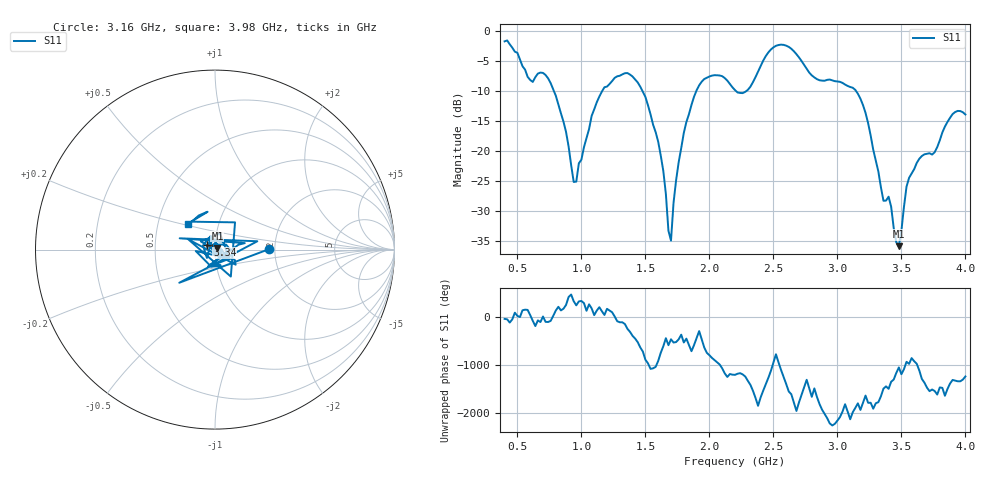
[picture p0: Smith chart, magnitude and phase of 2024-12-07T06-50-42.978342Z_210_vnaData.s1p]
!Created with skrf (http://scikit-rf.org).
# Hz S RI R 50.0
!freq ReS11 ImS11
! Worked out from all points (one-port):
!   181 points, 400 MHz to 4 GHz, reference 50 ohm
!   lowest |S11| = -35.8 dB at 3.48 GHz (marker M1), VSWR 1.03, Z = 51.4 + j0.869 ohm
!   |S11| at or under -10 dB: 784 MHz to 1.164 GHz (379.8 MHz wide, 39 % of centre); 1.476 GHz to 1.899 GHz (422.7 MHz wide, 25 % of centre); 3.144 GHz to end of sweep (the widest 3 of 4)
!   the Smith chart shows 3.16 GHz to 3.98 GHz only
!   S11 on the Smith chart (normalised r, x): 3.16 GHz: 1.85, +0.01; 3.34 GHz: 0.92, +0.05; 3.98 GHz: 0.71, +0.21
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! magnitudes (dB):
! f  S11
! 400 MHz  -1.8
! 600 MHz  -8.2
! 740 MHz  -7.9
! 860 MHz  -15.1
! 940 MHz  -25.2
! 960 MHz  -25.1
! 1.12 GHz  -11.9
! 1.3 GHz  -7.5
! 1.5 GHz  -11.0
! 1.62 GHz  -20.8
! 1.7 GHz  -34.9
! 1.76 GHz  -21.9
! 1.82 GHz  -15.2
! 1.94 GHz  -8.5
! 2.2 GHz  -9.9
! 2.3 GHz  -9.9
! 2.5 GHz  -2.8
! 2.66 GHz  -3.4
! 2.84 GHz  -8.1
! 3.1 GHz  -9.4
! 3.16 GHz  -10.5
! 3.24 GHz  -15.4
! 3.34 GHz  -26.0
! 3.4 GHz  -27.6
! 3.48 GHz  -35.8
! 3.56 GHz  -24.5
! 3.98 GHz  -13.6
! 4 GHz  -13.9
